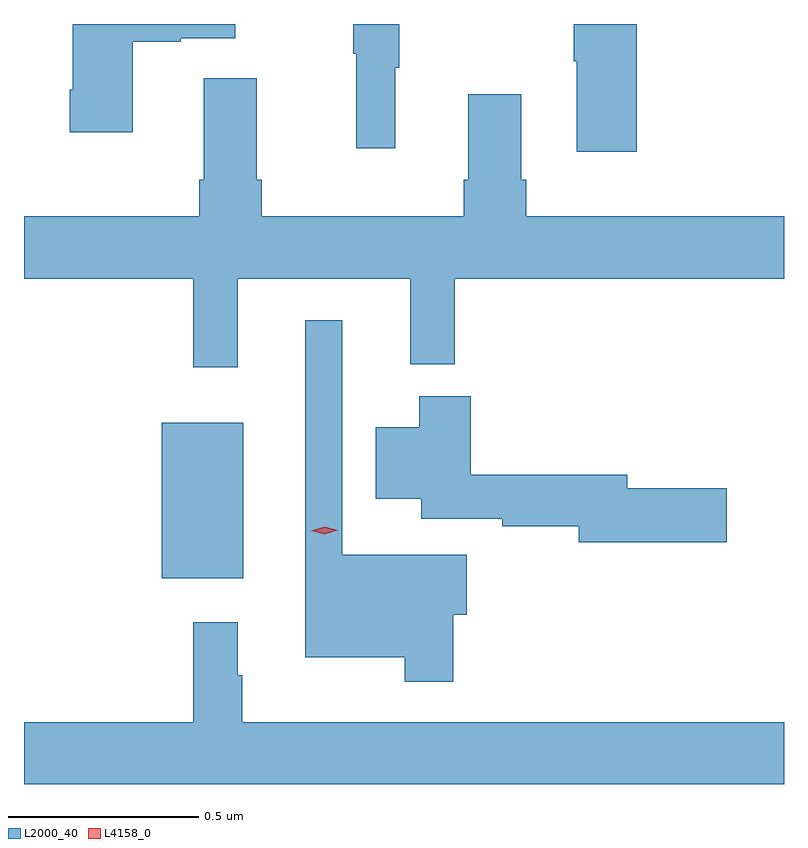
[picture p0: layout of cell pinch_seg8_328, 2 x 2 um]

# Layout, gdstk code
import gdstk
lib = gdstk.Library(unit=1e-6, precision=1e-09)
def R(c, l, rs):  # rectangles x0, y0, x1, y1
    for r in rs: c.add(gdstk.rectangle(r[:2], r[2:], *l))
def P(c, l, *ps):  # polygons
    for p in ps: c.add(gdstk.Polygon(p, *l))
L2000_40 = (2000, 40)
L4158_0 = (4158, 0)

pinch_seg8_328 = lib.new_cell('pinch_seg8_328')
R(pinch_seg8_328, L2000_40, [(594.704,1138.355,594.919,1138.765)])
P(pinch_seg8_328, L2000_40, [(595.955,1139.814),(595.789,1139.814),(595.789,1139.716),(595.796,1139.716),(595.796,1139.478),(595.955,1139.478)],
  [(594.628,1139.767),(594.755,1139.767),(594.755,1139.777),(594.898,1139.777),(594.898,1139.814),(594.47,1139.814),(594.47,1139.641),(594.463,1139.641),(594.463,1139.529),(594.628,1139.529)],
  [(595.319,1139.699),(595.33,1139.699),(595.33,1139.814),(595.209,1139.814),(595.209,1139.736),(595.216,1139.736),(595.216,1139.487),(595.319,1139.487)],
  [(594.968,1139.404),(594.955,1139.404),(594.955,1139.671),(594.815,1139.671),(594.815,1139.404),(594.803,1139.404),(594.803,1139.308),(594.342,1139.308),(594.342,1139.144),(594.787,1139.144),(594.787,1138.911),(594.905,1138.911),(594.905,1139.144),(595.358,1139.144),(595.358,1138.919),(595.475,1138.919),(595.475,1139.144),(596.342,1139.144),(596.342,1139.308),(595.664,1139.308),(595.664,1139.404),(595.651,1139.404),(595.651,1139.629),(595.511,1139.629),(595.511,1139.404),(595.499,1139.404),(595.499,1139.308),(594.968,1139.308)],
  [(595.472,1138.259),(595.507,1138.259),(595.507,1138.417),(595.179,1138.417),(595.179,1139.035),(595.082,1139.035),(595.082,1138.148),(595.344,1138.148),(595.344,1138.083),(595.472,1138.083)],
  [(596.191,1138.592),(595.93,1138.592),(595.93,1138.628),(595.517,1138.628),(595.517,1138.834),(595.382,1138.834),(595.382,1138.753),(595.268,1138.753),(595.268,1138.565),(595.388,1138.565),(595.388,1138.512),(595.6,1138.512),(595.6,1138.492),(595.802,1138.492),(595.802,1138.45),(596.191,1138.45)],
  [(594.342,1137.814),(596.342,1137.814),(596.342,1137.976),(594.916,1137.976),(594.916,1138.1),(594.904,1138.1),(594.904,1138.24),(594.787,1138.24),(594.787,1137.976),(594.342,1137.976)])
P(pinch_seg8_328, L4158_0, [(595.134,1138.471),(595.098,1138.48),(595.098,1138.48),(595.098,1138.48),(595.133,1138.491),(595.168,1138.482),(595.169,1138.482),(595.168,1138.482)])

lib.write_gds('pinch_seg8_328.gds')
